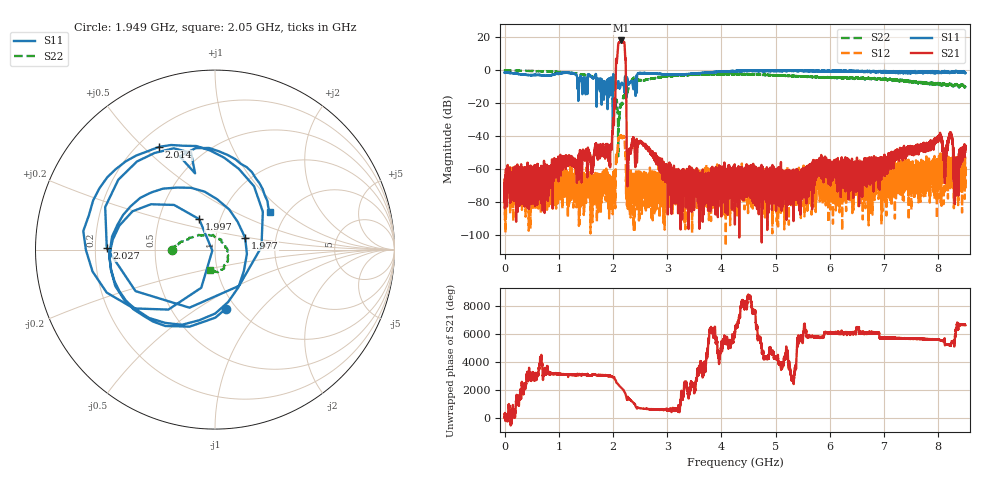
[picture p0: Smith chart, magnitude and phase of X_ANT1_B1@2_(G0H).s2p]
#  HZ  S  RI  R  50.00
! Rohde & Schwarz Vector Network Analyzer
! Rohde-Schwarz,ZNBT8-20Port,1318700624101681,3.50
! Created: UTC 7/15/2025, 2:07:43 PM
! freq[Hz]  re:S1010  im:S1010  re:S0510  im:S0510  re:S1005  im:S1005  re:S55  im:S55
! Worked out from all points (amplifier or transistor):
!   8500 points, 1 MHz to 8.5 GHz, reference 50 ohm
!   highest |S21| = 17.9 dB at 2.144 GHz (marker M1)
!   |S21| within 3 dB of that: 2.095 GHz to 2.215 GHz (119.8 MHz wide, 5.56 % of centre)
!   unconditionally stable (mu >= 1): start of sweep to end of sweep
!   at 1.417 GHz: K = 347678.50, MAG = -52.6 dB, |S12| = -69.4 dB
!   at 4.251 GHz: K = 150057.99, MAG = -48.2 dB, |S12| = -72.9 dB
!   at 8.5 GHz: K = 42355.94, MAG = -44.7 dB, |S12| = -58.7 dB
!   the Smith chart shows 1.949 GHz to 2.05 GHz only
!   S11 on the Smith chart (normalised r, x): 1.949 GHz: 0.90, -0.66; 1.977 GHz: 1.39, +0.19; 1.997 GHz: 0.79, +0.28; 2.014 GHz: 0.28, +0.56; 2.027 GHz: 0.25, +0.01; 2.05 GHz: 1.64, +0.79
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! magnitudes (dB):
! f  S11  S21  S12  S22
! 1 MHz  -1.7  -77.4  -78.5  -0.1
! 1.418 GHz  -5.1  -55.3  -71.0  -2.7
! 1.949 GHz  -9.5  -50.2  -78.2  -12.4
! 1.977 GHz  -14.9  -46.9  -73.5  -15.9
! 1.997 GHz  -14.4  -37.3  -71.3  -21.1
! 2.014 GHz  -3.7  -32.9  -69.1  -24.2
! 2.027 GHz  -4.4  -17.2  -66.0  -20.2
! 2.05 GHz  -8.7  -6.4  -60.3  -18.6
! 2.144 GHz  -8.9  17.9  -39.6  -20.5
! 2.205 GHz  -11.1  16.7  -40.5  -15.5
! 2.293 GHz  -8.5  -49.1  -65.1  -10.3
! 2.51 GHz  -2.0  -43.7  -63.5  -6.2
! 2.834 GHz  -2.4  -55.6  -61.0  -4.5
! 3.247 GHz  -2.7  -76.3  -72.9  -3.2
! 4.251 GHz  -0.7  -59.8  -72.9  -2.5
! 5.667 GHz  -0.3  -62.4  -66.7  -4.3
! 7.084 GHz  -0.9  -51.2  -63.6  -5.6
! 8.016 GHz  -1.4  -40.5  -61.7  -8.2
! 8.124 GHz  -1.1  -56.1  -55.9  -8.6
! 8.225 GHz  -1.3  -38.6  -63.4  -8.9
! 8.329 GHz  -1.0  -73.6  -70.1  -8.9
! 8.5 GHz  -2.0  -49.6  -58.7  -9.9
